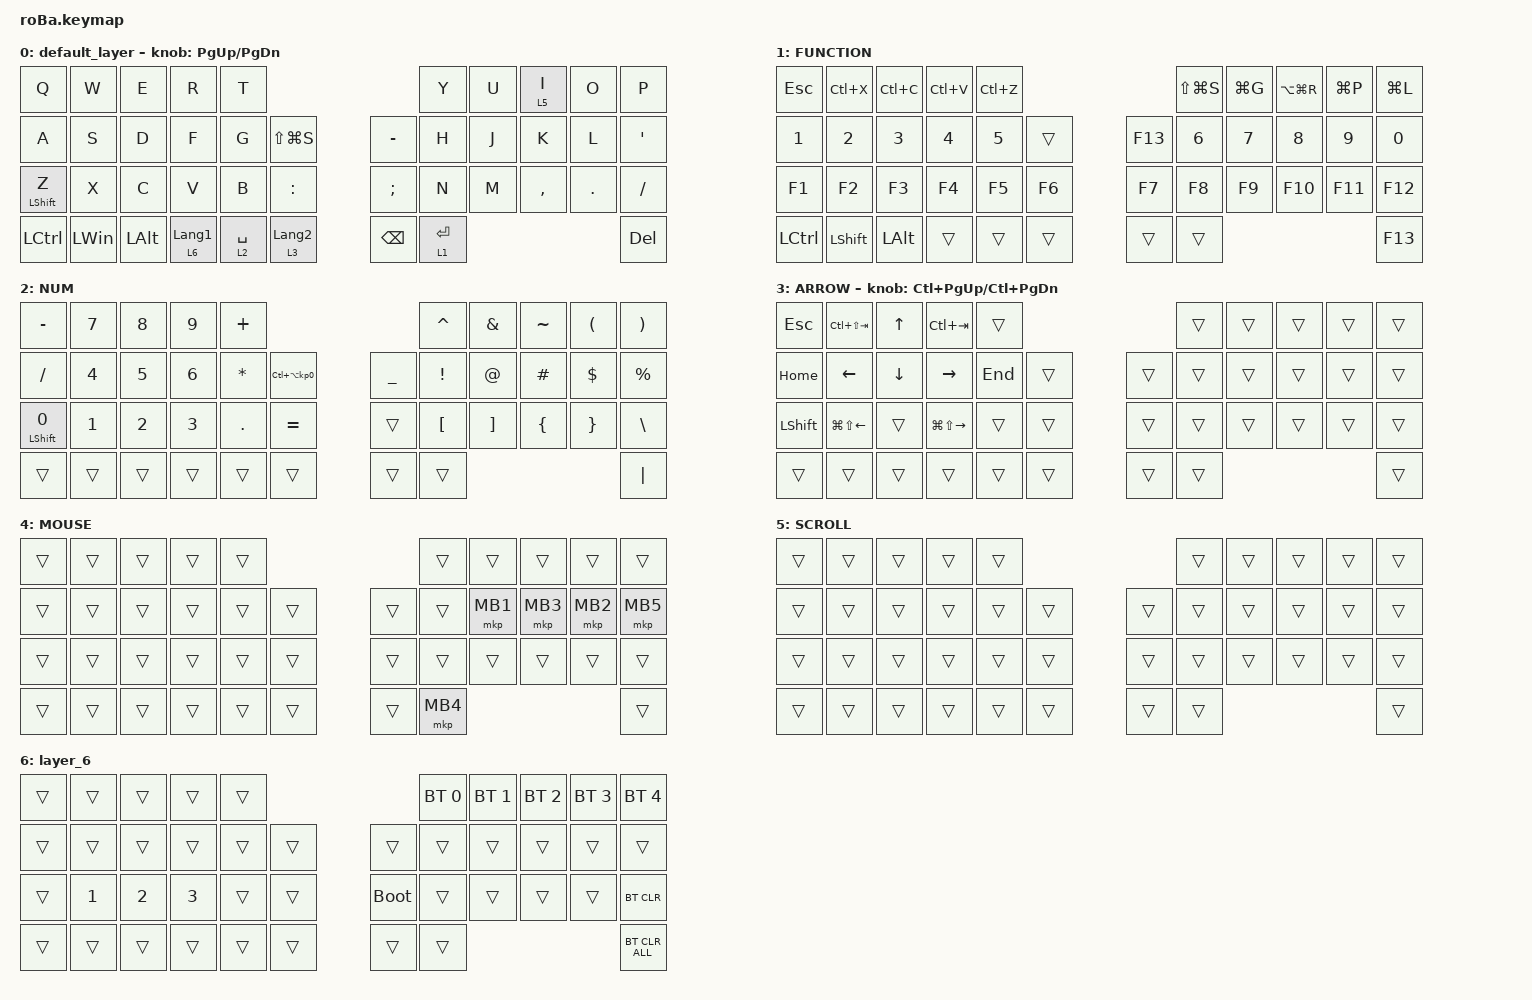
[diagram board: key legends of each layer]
#include <behaviors.dtsi>
#include <dt-bindings/zmk/bt.h>
#include <dt-bindings/zmk/keys.h>
#include <dt-bindings/zmk/pointing.h>

&mt {
    flavor = "balanced";
    quick-tap-ms = <0>;
};

&trackball {
    automouse-layer = <4>;
    scroll-layers = <5>;

    // arrows {
    //     layers = <3>;
    //     bindings =
    //         <&kp RIGHT_ARROW>,
    //         <&kp LEFT_ARROW>,
    //         <&kp UP_ARROW>,
    //         <&kp DOWN_ARROW>;
    //     tick = <10>;
    //     wait-ms = <5>;
    //     tap-ms = <5>;
    // };
};

/ {
    combos {
        compatible = "zmk,combos";

        tab {
            bindings = <&kp TAB>;
            key-positions = <11 12>;
        };

        shift_tab {
            bindings = <&kp LS(TAB)>;
            key-positions = <12 13>;
        };

        muhennkann {
            bindings = <&to_layer_0 INT_MUHENKAN>;
            key-positions = <11 10>;
        };

        double_quotation {
            bindings = <&kp DOUBLE_QUOTES>;
            key-positions = <20 21>;
        };

        eq {
            bindings = <&kp EQUAL>;
            key-positions = <24 25>;
        };
    };

    macros {
        to_layer_0: to_layer_0 {
            compatible = "zmk,behavior-macro-one-param";
            #binding-cells = <1>;
            bindings = <&to 0 &macro_param_1to1 &kp MACRO_PLACEHOLDER>;
            label = "TO_LAYER_0";
        };
    };

    behaviors {
        lt_to_layer_0: lt_to_layer_0 {
            compatible = "zmk,behavior-hold-tap";
            label = "LAYER_TAP_TO_0";
            bindings = <&mo>, <&to_layer_0>;

            #binding-cells = <2>;
            tapping-term-ms = <200>;
        };
    };

    keymap {
        compatible = "zmk,keymap";

        default_layer {
            bindings = <
&kp Q             &kp W         &kp E         &kp R                        &kp T                                                        &kp Y        &kp U  &lt 5 I    &kp O    &kp P
&kp A             &kp S         &kp D         &kp F                        &kp G        &kp LS(LG(S))                    &kp MINUS      &kp H        &kp J  &kp K      &kp L    &kp SQT
&mt LEFT_SHIFT Z  &kp X         &kp C         &kp V                        &kp B        &kp COLON                        &kp SEMICOLON  &kp N        &kp M  &kp COMMA  &kp DOT  &kp SLASH
&kp LCTRL         &kp LEFT_WIN  &kp LEFT_ALT  &lt_to_layer_0 6 LANGUAGE_1  &lt 2 SPACE  &lt_to_layer_0 3 LANGUAGE_2      &kp BACKSPACE  &lt 1 ENTER                             &kp DEL
            >;

            sensor-bindings = <&inc_dec_kp PG_UP PAGE_DOWN>;
        };

        FUNCTION {
            bindings = <
&kp ESC    &kp LC(X)  &kp LC(C)  &kp LC(V)  &kp LC(Z)                       &kp LS(LG(S))  &kp LG(G)  &kp LA(LG(R))  &kp LG(P)  &kp LG(L)
&kp N1     &kp N2     &kp N3     &kp N4     &kp N5     &trans      &kp F13  &kp N6         &kp N7     &kp N8         &kp N9     &kp N0
&kp F1     &kp F2     &kp F3     &kp F4     &kp F5     &kp F6      &kp F7   &kp F8         &kp F9     &kp F10        &kp F11    &kp F12
&kp LCTRL  &kp LSHFT  &kp LALT   &trans     &trans     &trans      &trans   &trans                                              &kp F13
            >;
        };

        NUM {
            bindings = <
&kp MINUS                &kp NUMBER_7  &kp NUMBER_8  &kp NUMBER_9  &kp PLUS                                                   &kp CARET         &kp AMPERSAND      &kp TILDE       &kp LEFT_PARENTHESIS  &kp RIGHT_PARENTHESIS
&kp SLASH                &kp NUMBER_4  &kp NUMBER_5  &kp NUMBER_6  &kp ASTERISK  &kp LC(LA(KP_NUMBER_0))      &kp UNDERSCORE  &kp EXCLAMATION   &kp AT_SIGN        &kp HASH        &kp DOLLAR            &kp PERCENT
&mt LEFT_SHIFT NUMBER_0  &kp NUMBER_1  &kp NUMBER_2  &kp NUMBER_3  &kp PERIOD    &kp EQUAL                    &trans          &kp LEFT_BRACKET  &kp RIGHT_BRACKET  &kp LEFT_BRACE  &kp RIGHT_BRACE       &kp BACKSLASH
&trans                   &trans        &trans        &trans        &trans        &trans                       &trans          &trans                                                                     &kp PIPE
            >;
        };

        ARROW {
            bindings = <
&kp ESCAPE      &kp LC(LS(TAB))         &kp UP_ARROW    &kp LC(TAB)              &trans                       &trans  &trans  &trans  &trans  &trans
&kp HOME        &kp LEFT_ARROW          &kp DOWN_ARROW  &kp RIGHT_ARROW          &kp END  &trans      &trans  &trans  &trans  &trans  &trans  &trans
&kp LEFT_SHIFT  &kp LG(LS(LEFT_ARROW))  &trans          &kp LG(LS(RIGHT_ARROW))  &trans   &trans      &trans  &trans  &trans  &trans  &trans  &trans
&trans          &trans                  &trans          &trans                   &trans   &trans      &trans  &trans                          &trans
            >;

            sensor-bindings = <&inc_dec_kp LC(PAGE_UP) LC(PAGE_DOWN)>;
        };

        MOUSE {
            bindings = <
&trans  &trans  &trans  &trans  &trans                      &trans    &trans    &trans    &trans    &trans
&trans  &trans  &trans  &trans  &trans  &trans      &trans  &trans    &mkp MB1  &mkp MB3  &mkp MB2  &mkp MB5
&trans  &trans  &trans  &trans  &trans  &trans      &trans  &trans    &trans    &trans    &trans    &trans
&trans  &trans  &trans  &trans  &trans  &trans      &trans  &mkp MB4                                &trans
            >;
        };

        SCROLL {
            bindings = <
&trans  &trans  &trans  &trans  &trans                      &trans  &trans  &trans  &trans  &trans
&trans  &trans  &trans  &trans  &trans  &trans      &trans  &trans  &trans  &trans  &trans  &trans
&trans  &trans  &trans  &trans  &trans  &trans      &trans  &trans  &trans  &trans  &trans  &trans
&trans  &trans  &trans  &trans  &trans  &trans      &trans  &trans                          &trans
            >;
        };

        layer_6 {
            bindings = <
&trans  &trans        &trans        &trans        &trans                           &bt BT_SEL 0  &bt BT_SEL 1  &bt BT_SEL 2  &bt BT_SEL 3  &bt BT_SEL 4
&trans  &trans        &trans        &trans        &trans  &trans      &trans       &trans        &trans        &trans        &trans        &trans
&trans  &kp NUMBER_1  &kp NUMBER_2  &kp NUMBER_3  &trans  &trans      &bootloader  &trans        &trans        &trans        &trans        &bt BT_CLR
&trans  &trans        &trans        &trans        &trans  &trans      &trans       &trans                                                  &bt BT_CLR_ALL
            >;
        };
    };
};
